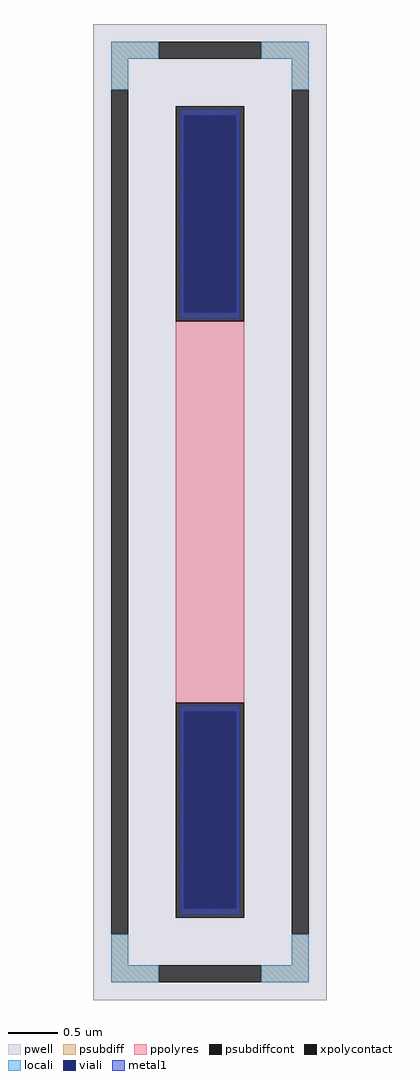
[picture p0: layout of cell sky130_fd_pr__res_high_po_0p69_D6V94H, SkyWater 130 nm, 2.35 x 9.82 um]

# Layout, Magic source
magic
tech sky130A
magscale 1 2
<< pwell >>
rect -235 -982 235 982
<< psubdiff >>
rect -199 912 -103 946
rect 103 912 199 946
rect -199 850 -165 912
rect 165 850 199 912
rect -199 -912 -165 -850
rect 165 -912 199 -850
rect -199 -946 -103 -912
rect 103 -946 199 -912
<< psubdiffcont >>
rect -103 912 103 946
rect -199 -850 -165 850
rect 165 -850 199 850
rect -103 -946 103 -912
<< xpolycontact >>
rect -69 384 69 816
rect -69 -816 69 -384
<< ppolyres >>
rect -69 -384 69 384
<< locali >>
rect -199 912 -103 946
rect 103 912 199 946
rect -199 850 -165 912
rect 165 850 199 912
rect -199 -912 -165 -850
rect 165 -912 199 -850
rect -199 -946 -103 -912
rect 103 -946 199 -912
<< viali >>
rect -53 401 53 798
rect -53 -798 53 -401
<< metal1 >>
rect -59 798 59 810
rect -59 401 -53 798
rect 53 401 59 798
rect -59 389 59 401
rect -59 -401 59 -389
rect -59 -798 -53 -401
rect 53 -798 59 -401
rect -59 -810 59 -798
<< properties >>
string FIXED_BBOX -182 -929 182 929
string gencell sky130_fd_pr__res_high_po_0p69
string library sky130
string parameters w 0.690 l 4.0 m 1 nx 1 wmin 0.690 lmin 0.50 rho 319.8 val 2.418k dummy 0 dw 0.0 term 194.82 sterm 0.0 caplen 0 guard 1 glc 1 grc 1 gtc 1 gbc 1 compatible {sky130_fd_pr__res_high_po_0p35  sky130_fd_pr__res_high_po_0p69 sky130_fd_pr__res_high_po_1p41  sky130_fd_pr__res_high_po_2p85 sky130_fd_pr__res_high_po_5p73} snake 0 full_metal 1 wmax 0.690 n_guard 0 hv_guard 0 vias 1 viagb 0 viagt 0 viagl 0 viagr 0
<< end >>
